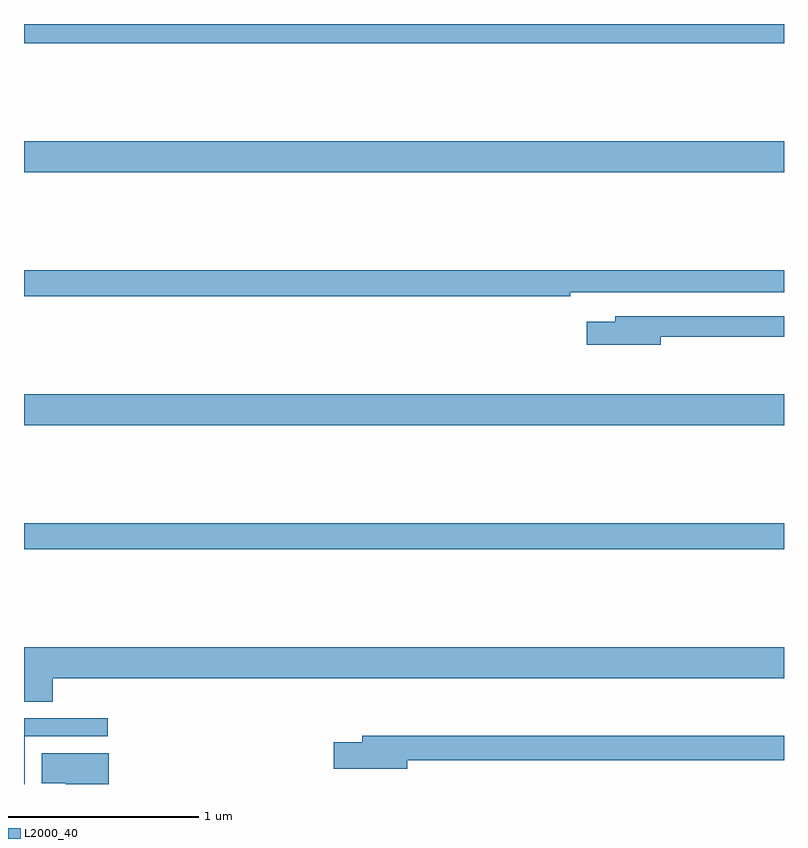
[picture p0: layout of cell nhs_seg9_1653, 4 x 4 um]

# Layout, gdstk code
import gdstk
lib = gdstk.Library(unit=1e-6, precision=1e-09)
def R(c, l, rs):  # rectangles x0, y0, x1, y1
    for r in rs: c.add(gdstk.rectangle(r[:2], r[2:], *l))
def P(c, l, *ps):  # polygons
    for p in ps: c.add(gdstk.Polygon(p, *l))
L2000_40 = (2000, 40)

nhs_seg9_1653 = lib.new_cell('nhs_seg9_1653')
R(nhs_seg9_1653, L2000_40, [(203,1227.736,207,1227.872), (203,1228.388,207,1228.552), (203,1229.72,207,1229.884), (203,1230.4,207,1230.5)])
P(nhs_seg9_1653, L2000_40, [(205.874,1229.088),(207,1229.088),(207,1229.204),(203,1229.204),(203,1229.068),(205.874,1229.068)],
  [(206.35,1228.854),(207,1228.854),(207,1228.962),(206.111,1228.962),(206.111,1228.933),(205.962,1228.933),(205.962,1228.811),(206.35,1228.811)],
  [(203.15,1227.056),(207,1227.056),(207,1227.22),(203,1227.22),(203,1226.932),(203.15,1226.932)],
  [(203.004,1226.751),(203.44,1226.751),(203.44,1226.847),(203,1226.847),(203,1226.5),(203.004,1226.5)],
  [(205.018,1226.626),(207,1226.626),(207,1226.755),(204.779,1226.755),(204.779,1226.721),(204.63,1226.721),(204.63,1226.579),(205.018,1226.579)],
  [(203.446,1226.662),(203.094,1226.662),(203.094,1226.504),(203.219,1226.504),(203.219,1226.5),(203.446,1226.5)])

lib.write_gds('nhs_seg9_1653.gds')
